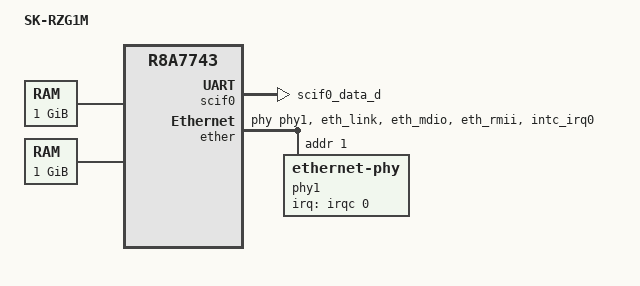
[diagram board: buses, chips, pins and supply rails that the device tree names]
// SPDX-License-Identifier: GPL-2.0
/*
 * Device Tree Source for the SK-RZG1M board
 *
 * Copyright (C) 2016-2017 Cogent Embedded, Inc.
 */

/dts-v1/;
#include "r8a7743.dtsi"

/ {
	model = "SK-RZG1M";
	compatible = "renesas,sk-rzg1m", "renesas,r8a7743";

	aliases {
		serial0 = &scif0;
	};

	chosen {
		bootargs = "ignore_loglevel rw root=/dev/nfs ip=on";
		stdout-path = "serial0:115200n8";
	};

	memory@40000000 {
		device_type = "memory";
		reg = <0 0x40000000 0 0x40000000>;
	};

	memory@200000000 {
		device_type = "memory";
		reg = <2 0x00000000 0 0x40000000>;
	};
};

&extal_clk {
	clock-frequency = <20000000>;
};

&pfc {
	scif0_pins: scif0 {
		groups = "scif0_data_d";
		function = "scif0";
	};

	ether_pins: ether {
		groups = "eth_link", "eth_mdio", "eth_rmii";
		function = "eth";
	};

	phy1_pins: phy1 {
		groups = "intc_irq0";
		function = "intc";
	};
};

&scif0 {
	pinctrl-0 = <&scif0_pins>;
	pinctrl-names = "default";

	status = "okay";
};

&ether {
	pinctrl-0 = <&ether_pins &phy1_pins>;
	pinctrl-names = "default";

	phy-handle = <&phy1>;
	renesas,ether-link-active-low;
	status = "okay";

	phy1: ethernet-phy@1 {
		reg = <1>;
		interrupt-parent = <&irqc>;
		interrupts = <0 IRQ_TYPE_LEVEL_LOW>;
		micrel,led-mode = <1>;
	};
};
